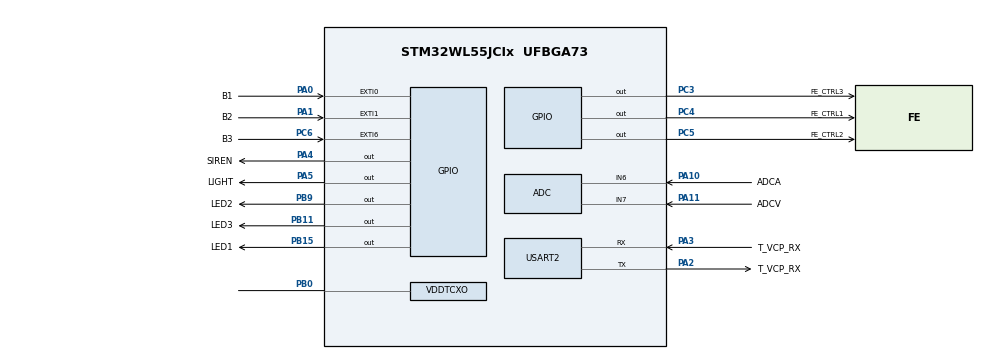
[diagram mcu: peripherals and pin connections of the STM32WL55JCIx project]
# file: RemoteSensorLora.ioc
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ADC.Channel-2\#ChannelRegularConversion=ADC_CHANNEL_6
ADC.Channel-3\#ChannelRegularConversion=ADC_CHANNEL_7
ADC.ClockPrescaler=ADC_CLOCK_ASYNC_DIV32
ADC.ContinuousConvMode=ENABLE
ADC.DMAContinuousRequests=ENABLE
ADC.EOCSelection=ADC_EOC_SEQ_CONV
ADC.EnableRegularConversion=ENABLE
ADC.NbrOfConversion=2
ADC.NbrOfConversionFlag=1
ADC.Overrun=ADC_OVR_DATA_OVERWRITTEN
ADC.Rank-2\#ChannelRegularConversion=1
ADC.Rank-3\#ChannelRegularConversion=2
ADC.SamplingTime-2\#ChannelRegularConversion=ADC_SAMPLINGTIME_COMMON_1
ADC.SamplingTime-3\#ChannelRegularConversion=ADC_SAMPLINGTIME_COMMON_1
ADC.SamplingTimeCommon1=ADC_SAMPLETIME_160CYCLES_5
ADC.SamplingTimeCommon2=ADC_SAMPLETIME_160CYCLES_5
ADC.SelectedChannel=ADC_CHANNEL_6|ADC_CHANNEL_7
Dma.ADC.0.Channel_PRIV_NPRIV=DMA_CHANNEL_NPRIV_DISABLE
Dma.ADC.0.Direction=DMA_PERIPH_TO_MEMORY
Dma.ADC.0.EventEnable=DISABLE
Dma.ADC.0.Instance=DMA1_Channel1
Dma.ADC.0.MemDataAlignment=DMA_MDATAALIGN_HALFWORD
Dma.ADC.0.MemInc=DMA_MINC_ENABLE
Dma.ADC.0.Mode=DMA_CIRCULAR
Dma.ADC.0.PeriphDataAlignment=DMA_PDATAALIGN_HALFWORD
Dma.ADC.0.PeriphInc=DMA_PINC_DISABLE
Dma.ADC.0.Polarity=HAL_DMAMUX_REQ_GEN_RISING
Dma.ADC.0.Priority=DMA_PRIORITY_LOW
Dma.ADC.0.RequestNumber=1
Dma.ADC.0.SignalID=NONE
Dma.ADC.0.SyncEnable=DISABLE
Dma.ADC.0.SyncPolarity=HAL_DMAMUX_SYNC_NO_EVENT
Dma.ADC.0.SyncRequestNumber=1
Dma.ADC.0.SyncSignalID=NONE
Dma.Request0=ADC
Mcu.Family=STM32WL
Mcu.Name=STM32WL55JCIx
Mcu.Package=UFBGA73
NVIC.DMA1_Channel1_IRQn=true\:0\:0\:false\:false\:true\:false\:true\:true
NVIC.PriorityGroup=NVIC_PRIORITYGROUP_4
NVIC.SUBGHZ_Radio_IRQn=true\:0\:0\:false\:false\:true\:true\:true\:true
NVIC.TIM16_IRQn=true\:0\:0\:false\:false\:true\:true\:true\:true
OSC_IN.Mode=HSE-TCXO
OSC_IN.Signal=RCC_OSC_IN
PA0.GPIO_Label=B1
PA0.GPIO_ModeDefaultEXTI=GPIO_MODE_IT_FALLING
PA0.GPIO_PuPd=GPIO_PULLUP
PA0.Signal=GPXTI0
PA1.GPIO_Label=B2
PA1.GPIO_ModeDefaultEXTI=GPIO_MODE_IT_FALLING
PA1.GPIO_PuPd=GPIO_PULLUP
PA1.Signal=GPXTI1
PA10.GPIO_Label=ADCA
PA10.Mode=IN6
PA10.Signal=ADC_IN6
PA11.GPIO_Label=ADCV
PA11.Mode=IN7
PA11.Signal=ADC_IN7
PA13.Mode=Serial_Wire
PA13.Signal=DEBUG_JTMS-SWDIO
PA14.Mode=Serial_Wire
PA14.Signal=DEBUG_JTCK-SWCLK
PA2.GPIO_Label=T_VCP_RX
PA2.Mode=Asynchronous
PA2.Signal=USART2_TX
PA3.GPIO_Label=T_VCP_RX
PA3.Mode=Asynchronous
PA3.Signal=USART2_RX
PA4.GPIO_Label=SIREN
PA4.GPIO_Speed=GPIO_SPEED_FREQ_MEDIUM
PA4.Signal=GPIO_Output
PA5.GPIO_Label=LIGHT
PA5.GPIO_Speed=GPIO_SPEED_FREQ_MEDIUM
PA5.Signal=GPIO_Output
PB0-VDD_TCXO.Mode=HSE-TCXO
PB0-VDD_TCXO.Signal=VDDTCXO
PB11.GPIO_Label=LED3
PB11.GPIO_Speed=GPIO_SPEED_FREQ_HIGH
PB11.Signal=GPIO_Output
PB15.GPIO_Label=LED1
PB15.GPIO_Speed=GPIO_SPEED_FREQ_HIGH
PB15.Signal=GPIO_Output
PB9.GPIO_FM9=__NULL
PB9.GPIO_Label=LED2
PB9.GPIO_Speed=GPIO_SPEED_FREQ_HIGH
PB9.Signal=GPIO_Output
PC14-OSC32_IN.Mode=LSE-External-Oscillator
PC14-OSC32_IN.Signal=RCC_OSC32_IN
PC15-OSC32_OUT.Mode=LSE-External-Oscillator
PC15-OSC32_OUT.Signal=RCC_OSC32_OUT
PC3.GPIO_Label=FE_CTRL3
PC3.GPIO_Speed=GPIO_SPEED_FREQ_VERY_HIGH
PC3.Signal=GPIO_Output
PC4.GPIO_Label=FE_CTRL1
PC4.GPIO_Speed=GPIO_SPEED_FREQ_VERY_HIGH
PC4.Signal=GPIO_Output
PC5.GPIO_Label=FE_CTRL2
PC5.GPIO_Speed=GPIO_SPEED_FREQ_VERY_HIGH
PC5.Signal=GPIO_Output
PC6.GPIO_Label=B3
PC6.GPIO_ModeDefaultEXTI=GPIO_MODE_IT_FALLING
PC6.GPIO_PuPd=GPIO_PULLUP
PC6.Signal=GPXTI6
ProjectManager.HeapSize=0x200
ProjectManager.StackSize=0x400
ProjectManager.TargetToolchain=STM32CubeIDE
RCC.AHBFreq_Value=48000000
RCC.APB1Freq_Value=48000000
RCC.APB1TimFreq_Value=48000000
RCC.APB2Freq_Value=48000000
RCC.APB2TimFreq_Value=48000000
RCC.APB3Freq_Value=48000000
RCC.CortexFreq_Value=48000000
RCC.HCLKFreq_Value=48000000
RCC.HSE_VALUE=32000000
RCC.HSI_VALUE=16000000
RCC.LSE_VALUE=32768
RCC.MSIClockRange=RCC_MSIRANGE_11
RCC.SYSCLKFreq_VALUE=48000000
RCC.VCOOutputFreq_Value=384000000
SUBGHZ.BaudratePrescaler=SUBGHZSPI_BAUDRATEPRESCALER_4
TIM16.AutoReloadPreload=TIM_AUTORELOAD_PRELOAD_ENABLE
TIM16.Period=250-1
USART2.VirtualMode-Asynchronous=VM_ASYNC
VP_SUBGHZ_VS_SUBGHZ.Mode=SUBGHZ_Activate
VP_TIM16_VS_ClockSourceINT.Mode=Enable_Timer
board=NUCLEO-WL55JC1

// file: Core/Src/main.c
/* USER CODE BEGIN Header */
/**
 ******************************************************************************
 * @file           : main.c
 * @brief          : Main program body
 ******************************************************************************
 * @attention
 *
 * Copyright (c) 2023 STMicroelectronics.
 * All rights reserved.
 *
 * This software is licensed under terms that can be found in the LICENSE file
 * in the root directory of this software component.
 * If no LICENSE file comes with this software, it is provided AS-IS.
 *
 ******************************************************************************
 */
/* USER CODE END Header */
#include "main.h"
#include "adc.h"
#include "dma.h"
#include "subghz.h"
#include "tim.h"
#include "usart.h"
#include "gpio.h"

/* USER CODE BEGIN Includes */
#include <string.h>
#include <stdio.h>
#include "radio_driver.h"
#include "stm32wlxx_nucleo.h"
#include "stm32wlxx_nucleo.h"
/* USER CODE END Includes */

/* USER CODE BEGIN PTD */

/* Structures for FSM radio system */
typedef enum
{
	STATE_NULL,
	STATE_MASTER,
} state_t;

typedef enum
{
	SSTATE_NULL,
	SSTATE_RX,
	SSTATE_TX
} substate_t;

typedef struct
{
	state_t state;
	substate_t subState;
	uint32_t rxTimeout;
	uint32_t rxMargin;
	uint32_t randomDelay;
	char rxBuffer[RX_BUFFER_SIZE];
	uint8_t rxSize;
} clientFSM_t;

/* USER CODE END PTD */

/* USER CODE BEGIN PM */
#define RF_FREQUENCY                   		868000000 /* Hz */
#define TX_OUTPUT_POWER                 	14        /* dBm */
#define LORA_BANDWIDTH                  	0         /* Hz */
#define LORA_SPREADING_FACTOR              	7
#define LORA_CODINGRATE                         1
#define LORA_PREAMBLE_LENGTH                    8         /* Same for Tx and Rx */
#define LORA_SYMBOL_TIMEOUT                     5         /* Symbols */

#define ADC_DMA_BUFFER_SIZE 			1000	// Number of ADC values over DMA
#define TX_BUFFER_SIZE 				40	// Buffer for TX data pay load
#define CHANNEL_NUMBER  			2	// ADC channel total number
#define THRESHOLD_AMP 				2048	// Maximum Threshold in mA
#define THRESHOLD_VOL 				2048	// Maximum Threshold in V
#define THRESHOLD_TIME				10000	// Time to trigger alarm off or on
#define ADC_EVAL_TIMER				25	// Delay time for evaluate the thresholds for alarm siren in ms
#define TX_SEND_TIMER				10000	// Data RF send every xx in ms
#define ADC_SAMPLE_2_TX_TIMER			1000	// Timer to put a sample into txpayload.txBuffer in ms.
#define UART_LOG_LEVEL				2	// Set level of log messages over UART
/* USER CODE END PM */

/* USER CODE BEGIN PV */
/* Structure for TX pay load management */
typedef struct
{
	uint8_t ready2TX;			// Flag to inform about the status of the data loaded (1 -> it's ready to TX, 0 -> it's loading data)
	uint8_t chCnt;				// Total amount of chars into txBuffer
	char txBuffer[TX_BUFFER_SIZE]; 		// Size of data for 20 samples of 16 bit (12 bit ADC)
} payload_t;

/* LoRA variables */
void (*volatile eventReceptor)(clientFSM_t *const fsm);
PacketParams_t packetParams;
const RadioLoRaBandwidths_t Bandwidths[] = { LORA_BW_125, LORA_BW_250, LORA_BW_500 };

/* TX send verification, two counters to avoid excessive retransmissions */
static int8_t ackNokCnt=0;
static int8_t rxToutCnt=0;

int alarmState = 0;		// Variable to trigger ALARM state, default state 0
int alarmCntOn = 0;		// Counter to set the alarm to on
int alarmCntOff = 0;		// Counter to set the alarm to off
int tim16cbDiv = 0;		// Variable 1 to divide the Interrupt count for output siren and light
int sampleCnt = 0;		// Counter for txpayload.txBuffer filling

payload_t txPayload;				// TX Pay load structure
uint16_t ADCbuffer[ADC_DMA_BUFFER_SIZE];	// Buffer for ADC-DMA reads
uint16_t currentAVG=0;				// AVG values to load into the txpayload.txBuffer
uint16_t voltageAVG=0;

uint32_t toaT0 = 0;				// Variables to estimate ToA
uint32_t toaT1 = 0;
uint32_t hacccT0 = 0;				// Variables for metering the time to calculate AVG values into the ADC conversion callback
uint32_t hacccT1 = 0;
uint32_t htpecT0 = 0;				// Variables for metering the time to to put a sample into txpayload.txBuffer, used in time elapsed interrupt
uint32_t htpecT1 = 0;
// Handlers
TIM_HandleTypeDef htim1;
/* USER CODE END PV */

void SystemClock_Config(void);
/* USER CODE BEGIN PFP */
/* FSM Radio function prototypes */
void radioInit(void);
void RadioOnDioIrq(RadioIrqMasks_t radioIrq);
void eventTxDone(clientFSM_t *const fsm);
void eventRxDone(clientFSM_t *const fsm);
void eventTxTimeout(clientFSM_t *const fsm);
void eventRxTimeout(clientFSM_t *const fsm);
void eventRxError(clientFSM_t *const fsm);
void enterMasterRx(clientFSM_t *const fsm);
void enterMasterTx(clientFSM_t *const fsm);
void transitionRxDone(clientFSM_t *const fsm);

/* TFG function prototypes */
int setAlarmState(int alarmTrigger);
void thresholdEval(uint16_t current, uint16_t voltage);
void uartLog(char* text, int escChar, int level);

/* USER CODE END PFP */

int main(void)
{
  /* USER CODE BEGIN 1 */
	clientFSM_t fsm;
  /* USER CODE END 1 */

  /* MCU Configuration--------------------------------------------------------*/

  /* Reset of all peripherals, Initializes the Flash interface and the Systick. */
  HAL_Init();

  /* Configure the system clock */
  SystemClock_Config();

  /* USER CODE BEGIN SysInit */

	GPIO_InitTypeDef GPIO_InitStruct = {0};

	// Enable GPIO Clocks
	__HAL_RCC_GPIOA_CLK_ENABLE();
	__HAL_RCC_GPIOB_CLK_ENABLE();

	// DEBUG_SUBGHZSPI_{NSSOUT, SCKOUT, MSIOOUT, MOSIOUT} pins
	GPIO_InitStruct.Pin = GPIO_PIN_4 | GPIO_PIN_5 | GPIO_PIN_6 | GPIO_PIN_7;
	GPIO_InitStruct.Mode = GPIO_MODE_AF_PP;
	GPIO_InitStruct.Pull = GPIO_NOPULL;
	GPIO_InitStruct.Speed = GPIO_SPEED_FREQ_VERY_HIGH;
	GPIO_InitStruct.Alternate = GPIO_AF13_DEBUG_SUBGHZSPI;
	HAL_GPIO_Init(GPIOA, &GPIO_InitStruct);

	// DEBUG_RF_{HSE32RDY, NRESET} pins
	// GPIO_InitStruct.Pin = GPIO_PIN_10 | GPIO_PIN_11;  // Pins used in other utilities
	GPIO_InitStruct.Alternate = GPIO_AF13_DEBUG_RF;
	HAL_GPIO_Init(GPIOA, &GPIO_InitStruct);

	// DEBUG_RF_{SMPSRDY, LDORDY} pins
	GPIO_InitStruct.Pin = GPIO_PIN_2 | GPIO_PIN_4;
	HAL_GPIO_Init(GPIOB, &GPIO_InitStruct);

	// RF_BUSY pin
	GPIO_InitStruct.Pin = GPIO_PIN_12;
	GPIO_InitStruct.Alternate = GPIO_AF6_RF_BUSY;
	HAL_GPIO_Init(GPIOA, &GPIO_InitStruct);

	// RF_{IRQ0, IRQ1, IRQ2} pins
	GPIO_InitStruct.Pin = GPIO_PIN_3 | GPIO_PIN_5 | GPIO_PIN_8;
	HAL_GPIO_Init(GPIOB, &GPIO_InitStruct);

  /* USER CODE END SysInit */

  /* Initialize all configured peripherals */
  MX_GPIO_Init();
  MX_DMA_Init();
  MX_USART2_UART_Init();
  MX_SUBGHZ_Init();
  MX_ADC_Init();
  MX_TIM16_Init();
  /* USER CODE BEGIN 2 */
	char uartBuff[100];
	strcpy(uartBuff, "\n\rClient Side\r\nAPP_VERSION=0.0.1\r\n---------------");
	uartLog(uartBuff, 0, 1);
	sprintf(uartBuff, "LORA_MODULATION\r\nLORA_BW=%d Hz\r\nLORA_SF=%d", (1 << LORA_BANDWIDTH) * 125, LORA_SPREADING_FACTOR);
	uartLog(uartBuff, 0, 1);
	sprintf(uartBuff, "SystemClock: %lu Hz", SystemCoreClock);
	uartLog(uartBuff, 0, 1);
	radioInit();

  /* USER CODE END 2 */

  /* Infinite loop */
  /* USER CODE BEGIN WHILE */

	// get random number
	uint32_t rnd = 0;
	SUBGRF_SetDioIrqParams(IRQ_RADIO_NONE, IRQ_RADIO_NONE, IRQ_RADIO_NONE, IRQ_RADIO_NONE);
	rnd = SUBGRF_GetRandom();

	fsm.state = STATE_MASTER;
	fsm.subState = SSTATE_TX;
	fsm.rxTimeout = 3000; // 3000 ms
	fsm.rxMargin = 200;   // 200 ms
	fsm.randomDelay = rnd >> 22; // [0, 1023] ms
	sprintf(uartBuff, "rand: %lu", fsm.randomDelay);
	uartLog(uartBuff, 0, 1);

	HAL_Delay(fsm.randomDelay);
	SUBGRF_SetDioIrqParams( IRQ_RX_DONE | IRQ_RX_TX_TIMEOUT | IRQ_CRC_ERROR,
			IRQ_RX_DONE | IRQ_RX_TX_TIMEOUT | IRQ_CRC_ERROR,
			IRQ_RADIO_NONE,
			IRQ_RADIO_NONE );
	SUBGRF_SetSwitch(RFO_LP, RFSWITCH_RX);
	SUBGRF_SetRx(fsm.rxTimeout << 6);
	fsm.state = STATE_MASTER;
	fsm.subState = SSTATE_RX;

	// Start reading of ADC values and put them to DMA
	uartLog("\r\nStart reading ADCs to DMA", 0, 1);
	HAL_ADC_Start_DMA(&hadc, (uint32_t*)ADCbuffer, ADC_DMA_BUFFER_SIZE);
	alarmState=setAlarmState(0);

	while (1)
	{
    /* USER CODE END WHILE */

    /* USER CODE BEGIN 3 */
		eventReceptor = NULL;
		while (eventReceptor == NULL);
		eventReceptor(&fsm);
	}
  /* USER CODE END 3 */
}

void SystemClock_Config(void)
{
  RCC_OscInitTypeDef RCC_OscInitStruct = {0};
  RCC_ClkInitTypeDef RCC_ClkInitStruct = {0};

  /** Configure LSE Drive Capability
  */
  HAL_PWR_EnableBkUpAccess();
  __HAL_RCC_LSEDRIVE_CONFIG(RCC_LSEDRIVE_LOW);

  /** Configure the main internal regulator output voltage
  */
  __HAL_PWR_VOLTAGESCALING_CONFIG(PWR_REGULATOR_VOLTAGE_SCALE1);

  /** Initializes the CPU, AHB and APB buses clocks
  */
  RCC_OscInitStruct.OscillatorType = RCC_OSCILLATORTYPE_HSI|RCC_OSCILLATORTYPE_LSE
                              |RCC_OSCILLATORTYPE_MSI;
  RCC_OscInitStruct.LSEState = RCC_LSE_ON;
  RCC_OscInitStruct.HSIState = RCC_HSI_ON;
  RCC_OscInitStruct.MSIState = RCC_MSI_ON;
  RCC_OscInitStruct.HSICalibrationValue = RCC_HSICALIBRATION_DEFAULT;
  RCC_OscInitStruct.MSICalibrationValue = RCC_MSICALIBRATION_DEFAULT;
  RCC_OscInitStruct.MSIClockRange = RCC_MSIRANGE_11;
  RCC_OscInitStruct.PLL.PLLState = RCC_PLL_NONE;
  if (HAL_RCC_OscConfig(&RCC_OscInitStruct) != HAL_OK)
  {
    Error_Handler();
  }

  /** Configure the SYSCLKSource, HCLK, PCLK1 and PCLK2 clocks dividers
  */
  RCC_ClkInitStruct.ClockType = RCC_CLOCKTYPE_HCLK3|RCC_CLOCKTYPE_HCLK
                              |RCC_CLOCKTYPE_SYSCLK|RCC_CLOCKTYPE_PCLK1
                              |RCC_CLOCKTYPE_PCLK2;
  RCC_ClkInitStruct.SYSCLKSource = RCC_SYSCLKSOURCE_MSI;
  RCC_ClkInitStruct.AHBCLKDivider = RCC_SYSCLK_DIV1;
  RCC_ClkInitStruct.APB1CLKDivider = RCC_HCLK_DIV1;
  RCC_ClkInitStruct.APB2CLKDivider = RCC_HCLK_DIV1;
  RCC_ClkInitStruct.AHBCLK3Divider = RCC_SYSCLK_DIV1;

  if (HAL_RCC_ClockConfig(&RCC_ClkInitStruct, FLASH_LATENCY_2) != HAL_OK)
  {
    Error_Handler();
  }
}

/* USER CODE BEGIN 4 */

/**
 * @brief  Initialize the Sub-GHz radio and dependent hardware.
 * @retval None
 */
void radioInit(void)
{
	// Initialize the hardware (SPI bus, TCXO control, RF switch)
	SUBGRF_Init(RadioOnDioIrq);

	// Use DCDC converter if `DCDC_ENABLE` is defined in radio_conf.h
	// "By default, the SMPS clock detection is disabled and must be enabled before enabling the SMPS." (6.1 in RM0453)
	SUBGRF_WriteRegister(SUBGHZ_SMPSC0R, (SUBGRF_ReadRegister(SUBGHZ_SMPSC0R) | SMPS_CLK_DET_ENABLE));
	SUBGRF_SetRegulatorMode();

	// Use the whole 256-byte buffer for both TX and RX
	SUBGRF_SetBufferBaseAddress(0x00, 0x00);

	SUBGRF_SetRfFrequency(RF_FREQUENCY);
	SUBGRF_SetRfTxPower(TX_OUTPUT_POWER);
	SUBGRF_SetStopRxTimerOnPreambleDetect(false);

	SUBGRF_SetPacketType(PACKET_TYPE_LORA);

	SUBGRF_WriteRegister( REG_LR_SYNCWORD, ( LORA_MAC_PRIVATE_SYNCWORD >> 8 ) & 0xFF );
	SUBGRF_WriteRegister( REG_LR_SYNCWORD + 1, LORA_MAC_PRIVATE_SYNCWORD & 0xFF );

	ModulationParams_t modulationParams;
	modulationParams.PacketType = PACKET_TYPE_LORA;
	modulationParams.Params.LoRa.Bandwidth = Bandwidths[LORA_BANDWIDTH];
	modulationParams.Params.LoRa.CodingRate = (RadioLoRaCodingRates_t)LORA_CODINGRATE;
	modulationParams.Params.LoRa.LowDatarateOptimize = 0x00;
	modulationParams.Params.LoRa.SpreadingFactor = (RadioLoRaSpreadingFactors_t)LORA_SPREADING_FACTOR;
	SUBGRF_SetModulationParams(&modulationParams);

	packetParams.PacketType = PACKET_TYPE_LORA;
	packetParams.Params.LoRa.CrcMode = LORA_CRC_ON;
	packetParams.Params.LoRa.HeaderType = LORA_PACKET_VARIABLE_LENGTH;
	packetParams.Params.LoRa.InvertIQ = LORA_IQ_NORMAL;
	packetParams.Params.LoRa.PayloadLength = 0xFF;
	packetParams.Params.LoRa.PreambleLength = LORA_PREAMBLE_LENGTH;
	SUBGRF_SetPacketParams(&packetParams);

	//SUBGRF_SetLoRaSymbNumTimeout(LORA_SYMBOL_TIMEOUT);

	// WORKAROUND - Optimizing the Inverted IQ Operation, see DS_SX1261-2_V1.2 datasheet chapter 15.4
	// RegIqPolaritySetup @address 0x0736
	SUBGRF_WriteRegister( 0x0736, SUBGRF_ReadRegister( 0x0736 ) | ( 1 << 2 ) );
}

/**
 * @brief  Receive data trough SUBGHZSPI peripheral
 * @param  radioIrq  interrupt pending status information
 * @retval None
 */
void RadioOnDioIrq(RadioIrqMasks_t radioIrq)
{
	char uartBuff[8];
	switch (radioIrq)
	{
	case IRQ_TX_DONE:
		eventReceptor = eventTxDone;
		// TFG. TX end time and ToA metering
		toaT1=HAL_GetTick();
		sprintf(uartBuff, "ToA: %lu", toaT1-toaT0);
		uartLog(uartBuff, 0, 1);
		break;
	case IRQ_RX_DONE:
		eventReceptor = eventRxDone;
		break;
	case IRQ_RX_TX_TIMEOUT:
		if (SUBGRF_GetOperatingMode() == MODE_TX)
		{
			eventReceptor = eventTxTimeout;
		}
		else if (SUBGRF_GetOperatingMode() == MODE_RX)
		{
			eventReceptor = eventRxTimeout;
		}
		break;
	case IRQ_CRC_ERROR:
		eventReceptor = eventRxError;
		break;
	default:
		break;
	}
}

/**
 * @brief  Process the TX Done event
 * @param  fsm pointer to FSM context
 * @retval None
 */
void eventTxDone(clientFSM_t *const fsm)
{
	uartLog("Event TX Done", -1, 2);
	switch (fsm->state)
	{
	case STATE_MASTER:
		switch (fsm->subState)
		{
		case SSTATE_TX:
			enterMasterRx(fsm);
			fsm->subState = SSTATE_RX;
			break;
		default:
			break;
		}
		break;

		default:
			break;
	}
}

/**
 * @brief  Process the RX Done event
 * @param  fsm pointer to FSM context
 * @retval None
 */
void eventRxDone(clientFSM_t *const fsm){
	char uartBuff[100];
	uartLog("Event RX Done", 0, 2);
	switch(fsm->state)
	{
	case STATE_MASTER:
		switch (fsm->subState)
		{
		case SSTATE_RX:
			transitionRxDone(fsm);
			// TFG. Data send verification.
			if (strncmp(fsm->rxBuffer, "ACK OK", 6) == 0){
				ackNokCnt=0;
				uartLog("RX <-- ACK", 0, 1);
				sprintf(uartBuff,"%d mili seconds pause, correct pay load sent", TX_SEND_TIMER);
				uartLog(uartBuff, 0, 1);
				// TFG. Initialize the TX buffer and set the flag
				for (int i=0; i < 40; i++){
					txPayload.txBuffer[i]=0;
				}
				txPayload.ready2TX = 0;
				enterMasterTx(fsm);
				fsm->subState = SSTATE_TX;
			}
			else{
				// TFG. 5 send retries
				if (ackNokCnt<5){
					HAL_Delay(fsm->randomDelay);
					enterMasterTx(fsm);
					fsm->subState = SSTATE_TX;
					ackNokCnt++;
				}
				else{
					sprintf(uartBuff,"%d mili seconds pause --> 5 TX without ACK", TX_SEND_TIMER);
					uartLog(uartBuff, 0, 1);
					// TFG. Initialize the TX buffer and set the flag
					for (int i=0; i < 40; i++){
						txPayload.txBuffer[i]=0;
					}
					txPayload.ready2TX = 0;
					HAL_Delay(TX_SEND_TIMER);
					ackNokCnt=0;
					enterMasterTx(fsm);
					fsm->subState = SSTATE_TX;
				}
			}
		default:
			break;
		}
	default:
		break;
	}
}

/**
 * @brief  Process the TX Timeout event
 * @param  fsm pointer to FSM context
 * @retval None
 */
void eventTxTimeout(clientFSM_t *const fsm)
{
uartLog("\r\nEvent TX Timeout\r\n", 0, 1);
	switch (fsm->state)
	{
	case STATE_MASTER:
		switch (fsm->subState)
		{
		case SSTATE_TX:
			enterMasterRx(fsm);
			fsm->subState = SSTATE_RX;
			break;
		default:
			break;
		}
		break;
		default:
			break;
	}
}

/**
 * @brief  Process the RX Timeout event
 * @param  fsm pointer to FSM context
 * @retval None
 */
void eventRxTimeout(clientFSM_t *const fsm)
{
	char uartBuff[100];
	uartLog("\r\nEvent RX Timeout\r\n", 0, 1);
	switch (fsm->state)
	{
	case STATE_MASTER:
		switch (fsm->subState)
		{
		case SSTATE_RX:
			// TFG. 5 send retries
			if (rxToutCnt<5){
				HAL_Delay(fsm->randomDelay);
				enterMasterTx(fsm);
				fsm->subState = SSTATE_TX;
				rxToutCnt++;
			}
			else {

				sprintf(uartBuff, "\r\n%d mili seconds pause --> 5 RX timeout\r\n", TX_SEND_TIMER);
				uartLog(uartBuff, 0, 1);
				// TFG. Initialize the TX buffer and set the flag
				for (int i=0; i < 40; i++){
					txPayload.txBuffer[i]=0;
				}
				txPayload.ready2TX = 0;
				HAL_Delay(TX_SEND_TIMER);
				rxToutCnt=0;
				enterMasterTx(fsm);
				fsm->subState = SSTATE_TX;
			}
			break;
		default:
			break;
		}
		break;
		default:
			break;
	}
}

/**
 * @brief  Process the RX Error event
 * @param  fsm pointer to FSM context
 * @retval None
 */
void eventRxError(clientFSM_t *const fsm)
{
	uartLog("\r\nEvent Rx Error\r\n", 0, 1);
	switch (fsm->state)
	{
	case STATE_MASTER:
		switch (fsm->subState)
		{
		case SSTATE_RX:
			HAL_Delay(fsm->randomDelay);
			enterMasterTx(fsm);
			fsm->subState = SSTATE_TX;
			break;
		default:
			break;
		}
		break;
		default:
			break;
	}
}

/**
 * @brief  Entry actions for the RX sub-state of the Master state
 * @param  fsm pointer to FSM context
 * @retval None
 */
void enterMasterRx(clientFSM_t *const fsm)
{
	uartLog("Master Rx start", 0, 4);
	SUBGRF_SetDioIrqParams( IRQ_RX_DONE | IRQ_RX_TX_TIMEOUT | IRQ_CRC_ERROR | IRQ_HEADER_ERROR,
			IRQ_RX_DONE | IRQ_RX_TX_TIMEOUT | IRQ_CRC_ERROR | IRQ_HEADER_ERROR,
			IRQ_RADIO_NONE,
			IRQ_RADIO_NONE );
	SUBGRF_SetSwitch(RFO_LP, RFSWITCH_RX);
	packetParams.Params.LoRa.PayloadLength = 0xFF;
	SUBGRF_SetPacketParams(&packetParams);
	SUBGRF_SetRx(fsm->rxTimeout << 6);
}

/**
 * @brief  Entry actions for the TX sub-state of the Master state
 * @param  fsm pointer to FSM context
 * @retval None
 */
void enterMasterTx(clientFSM_t *const fsm)
{
	// TFG. Buffer for store values
	char uartBuff[40];
	// TFG. Wait until the payload is full
	while(txPayload.ready2TX == 0);
	HAL_Delay(fsm->rxMargin);
	uartLog("TX --> data payload: ", 1, 1);
	for (int i = 0; i < txPayload.chCnt/2; i++) {
		uint16_t value = *((uint16_t*)(txPayload.txBuffer + i*2)); // TFG. Read values from char pay-load
		sprintf(uartBuff, "%d", value);
		uartLog(uartBuff, 2, 1);
	}
	uartLog("", 0, 1);

	uartLog("Master Tx start", 0, 4);
	SUBGRF_SetDioIrqParams( IRQ_TX_DONE | IRQ_RX_TX_TIMEOUT,
			IRQ_TX_DONE | IRQ_RX_TX_TIMEOUT,
			IRQ_RADIO_NONE,
			IRQ_RADIO_NONE );
	SUBGRF_SetSwitch(RFO_LP, RFSWITCH_TX);
	// Workaround 5.1 in DS.SX1261-2.W.APP (before each packet transmission)
	SUBGRF_WriteRegister(0x0889, (SUBGRF_ReadRegister(0x0889) | 0x04));
	packetParams.Params.LoRa.PayloadLength = txPayload.chCnt;
	SUBGRF_SetPacketParams(&packetParams);

	// TFG. To estimate ToA
	toaT0=HAL_GetTick();
	SUBGRF_SendPayload((uint8_t *)txPayload.txBuffer, txPayload.chCnt, 0);
}

/**
 * @brief  Transition actions executed on every RX Done event (helper function)
 * @param  fsm pointer to FSM context
 * @retval None
 */
void transitionRxDone(clientFSM_t *const fsm)
{
	PacketStatus_t packetStatus;
	char uartBuff[50];

	// Workaround 15.3 in DS.SX1261-2.W.APP (because following RX w/ timeout sequence)
	SUBGRF_WriteRegister(0x0920, 0x00);
	SUBGRF_WriteRegister(0x0944, (SUBGRF_ReadRegister(0x0944) | 0x02));

	SUBGRF_GetPayload((uint8_t *)fsm->rxBuffer, &fsm->rxSize, 0xFF);
	SUBGRF_GetPacketStatus(&packetStatus);

	//TFG. Info about RF parameters.
	sprintf(uartBuff, "RssiValue=%d dBm, SnrValue=%d dB", packetStatus.Params.LoRa.RssiPkt, packetStatus.Params.LoRa.SnrPkt);
	uartLog(uartBuff, 0, 2);
}

/**
 * @brief TFG. Set the alarm to on or off.
 * @param alarmTrigger	Integer value to set the alarm state
 * @retval 0 -> Alarm OFF, 1 -> Alarm ON, 2 -> Alarm Error
 */
int setAlarmState(int alarmTrigger){
	tim16cbDiv=0;
	if (alarmTrigger==1){
		HAL_GPIO_WritePin(GPIOA, LIGHT_Pin|SIREN_Pin, GPIO_PIN_SET);
		uartLog("\r\nALARM ON\r\n", 0, 1);
		return 1;
	}
	else if (alarmTrigger==0){
		HAL_GPIO_WritePin(GPIOA, LIGHT_Pin|SIREN_Pin, GPIO_PIN_RESET);
		uartLog("\r\nALARM OFF\r\n", 0, 1);
		return 0;
	}
	else{
		uartLog("\r\nALARM ON, system error\r\n", 0, 1);
		return 2;
	}

}

/**
 * @brief TFG. Evaluate the trhesholv criteria and turn on or off the alarm
 * @param channelArrayIn	Vector that stores the filtered values
 *
 */
void thresholdEval(uint16_t current, uint16_t voltage){
	char uartBuff[100];
	//TFG. If both signals exceed the threshold, the ON alarm counter is incremented and the OFF counter is reset to 0.
	if((current > THRESHOLD_VOL) && (voltage > THRESHOLD_AMP)){
		alarmCntOn++;
		alarmCntOff=0;
		// Only for debug level 4
		if (UART_LOG_LEVEL == 4 && alarmCntOn % 40 == 0){
			sprintf(uartBuff, "Alarm state ON counter: %d // current: %f // voltage: %f", alarmCntOn, (((float)current/4096)*16)+4, ((float)voltage/4096)*10);
			uartLog(uartBuff, 0, 4);
		}
	}
	//TFG. If any of the signals does not exceed the threshold, the OFF alarm counter is incremented and the ON counter is reset to 0.
	else if ((current <= THRESHOLD_VOL) || (voltage <= THRESHOLD_AMP)){
		alarmCntOff++;
		alarmCntOn=0;
		// Only for debug level 4
		if (UART_LOG_LEVEL == 4 && alarmCntOff % 40 == 0){
			sprintf(uartBuff, "Alarm state OFF counter: %d // current: %f // voltage: %f", alarmCntOff, (((float)current/4096)*16)+4, ((float)voltage/4096)*10);
			uartLog(uartBuff, 0, 4);
		}
	}
	//TFG. If the counter to ON exceed the threshold, the alarm it is set to ON.
	if (alarmCntOn >= (THRESHOLD_TIME/ADC_EVAL_TIMER)){
		if (alarmState!=1){
			alarmState=setAlarmState(1);
		}
		alarmCntOn=0;
	}
	//TFG. If the counter to OFF exceed the threshold, the alarm it is set to OFF.
	else if (alarmCntOff >= (THRESHOLD_TIME/ADC_EVAL_TIMER)){
		if (alarmState!=0){
			alarmState=setAlarmState(0);
		}
		alarmCntOff=0;
	}
}

/**
 * @brief TFG. Print log messages over UART port.
 * @param text		Text message
 * @param escChar	Separator character
 * @param level		Log level
 */
void uartLog(char* text, int escChar, int level){
	char uartBuff[100];
	if (escChar==0){
		sprintf(uartBuff, "%s\r\n", text);
	}
	if (escChar==1){
		sprintf(uartBuff, "%s", text);
	}
	if (escChar==2){
		sprintf(uartBuff, "%s ", text);
	}
	if (escChar==2){
		sprintf(uartBuff, "%s, ", text);
	}
	if (level <= UART_LOG_LEVEL ){
		HAL_UART_Transmit(&huart2, (uint8_t *)uartBuff, strlen(uartBuff), HAL_MAX_DELAY);
	}
	else{
	}
}

/**
 * @brief TFG. Elapsed time interrupt.
 * @param *htim		Pointer to htim handler
 */
void HAL_TIM_PeriodElapsedCallback(TIM_HandleTypeDef *htim)
{
	/* USER CODE BEGIN Callback 0 */

	/* USER CODE END Callback 0 */
	/* USER CODE BEGIN Callback 1 */

	if (htim->Instance == TIM16){
		//TFG. Variable to store the time
		htpecT1 = HAL_GetTick();

		//TFG. If alarm is ON a counter is incremented every 10 ms to toggle the alarm light every 1 second.
		if (alarmState == 1) {
			HAL_GPIO_WritePin(SIREN_GPIO_Port, SIREN_Pin, GPIO_PIN_SET);
			// While alarm==1 -> SIREN ALARM ON
			if (tim16cbDiv > 100){ // whith alarm==1 from 0 ms to 1000 ms -> ALARM LIGHT Toggle.
				HAL_GPIO_TogglePin(LIGHT_GPIO_Port, LIGHT_Pin);
				tim16cbDiv=0;
			}
			else{
				tim16cbDiv++;
			}
		}

		//TFG. Save samples every second into TX pay-load. The time is estimated with HAL_GetTick().
		if (htpecT1-htpecT0 >= ADC_SAMPLE_2_TX_TIMER && txPayload.ready2TX != 1){
			htpecT0=hacccT1;
			char uartBuff[TX_BUFFER_SIZE];
			//TFG. Save average values of voltage and current to the correct position in pay-load.
			if (sampleCnt < TX_BUFFER_SIZE/4 && txPayload.ready2TX == 0){
				memcpy(txPayload.txBuffer + (sampleCnt*4), &currentAVG, sizeof(currentAVG));
				memcpy(txPayload.txBuffer + ((sampleCnt*4)+2), &voltageAVG, sizeof(voltageAVG));
				sprintf(uartBuff, "Current %d: %d\r\nVoltage %d: %d", (sampleCnt), *((uint16_t*)(txPayload.txBuffer + sampleCnt*4)), (sampleCnt), *((uint16_t*)(txPayload.txBuffer + (sampleCnt*4) + 2)));
				uartLog(uartBuff, 0, 3);
				sampleCnt++;
			}
			//TFG. When pay-load is full set the flag and reset counter to 0.
			else if (sampleCnt == TX_BUFFER_SIZE/4){
				txPayload.chCnt = sizeof(txPayload.txBuffer);
				txPayload.ready2TX = 1;
				sampleCnt=0;
			}
		}
	}
	/* USER CODE END Callback 1 */
}
/**
 * @brief TFG. Callback for end of conversion interrupt
 *  * @param *hadc		Pointer to hadc handler
 */
void HAL_ADC_ConvCpltCallback(ADC_HandleTypeDef* hadc) {
	// TFG. AVG value of each DMA-ADC sample array.
	uint32_t tmpCurrentAVG=0;
	uint32_t tmpVoltageAVG=0;
	hacccT1 = HAL_GetTick();
	//TFG. When the defined time has passed between each conversion, calculate two average values.
	if (hacccT1-hacccT0 >= ADC_EVAL_TIMER){
		hacccT0 = hacccT1;
		for (int i = 0; i < ADC_DMA_BUFFER_SIZE; i++) {
			if (i % 2 == 0){
				tmpCurrentAVG=tmpCurrentAVG+ADCbuffer[i];
			}
			else{
				tmpVoltageAVG=tmpVoltageAVG+ADCbuffer[i];
			}
		}
		currentAVG=(tmpCurrentAVG/(ADC_DMA_BUFFER_SIZE/2));
		voltageAVG=(tmpVoltageAVG/(ADC_DMA_BUFFER_SIZE/2));
		//TFG. Evaluate the threshold.
		thresholdEval(currentAVG, voltageAVG);
	}
}

/* USER CODE END 4 */

void Error_Handler(void)
{
	__disable_irq();
	while (1)
	{
	}
}
